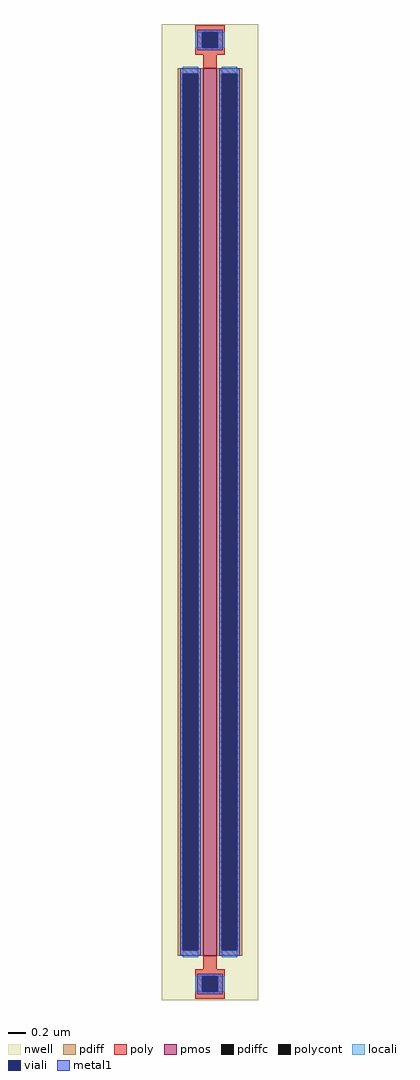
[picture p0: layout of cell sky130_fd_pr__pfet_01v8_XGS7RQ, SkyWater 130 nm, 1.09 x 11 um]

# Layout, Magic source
magic
tech sky130A
magscale 1 2
<< nwell >>
rect -109 -1100 109 1100
<< pmos >>
rect -15 -1000 15 1000
<< pdiff >>
rect -73 988 -15 1000
rect -73 -988 -61 988
rect -27 -988 -15 988
rect -73 -1000 -15 -988
rect 15 988 73 1000
rect 15 -988 27 988
rect 61 -988 73 988
rect 15 -1000 73 -988
<< pdiffc >>
rect -61 -988 -27 988
rect 27 -988 61 988
<< poly >>
rect -33 1081 33 1097
rect -33 1047 -17 1081
rect 17 1047 33 1081
rect -33 1031 33 1047
rect -15 1000 15 1031
rect -15 -1031 15 -1000
rect -33 -1047 33 -1031
rect -33 -1081 -17 -1047
rect 17 -1081 33 -1047
rect -33 -1097 33 -1081
<< polycont >>
rect -17 1047 17 1081
rect -17 -1081 17 -1047
<< locali >>
rect -33 1047 -17 1081
rect 17 1047 33 1081
rect -61 988 -27 1004
rect -61 -1004 -27 -988
rect 27 988 61 1004
rect 27 -1004 61 -988
rect -33 -1081 -17 -1047
rect 17 -1081 33 -1047
<< viali >>
rect -17 1047 17 1081
rect -61 -988 -27 988
rect 27 -988 61 988
rect -17 -1081 17 -1047
<< metal1 >>
rect -29 1081 29 1087
rect -29 1047 -17 1081
rect 17 1047 29 1081
rect -29 1041 29 1047
rect -67 988 -21 1000
rect -67 -988 -61 988
rect -27 -988 -21 988
rect -67 -1000 -21 -988
rect 21 988 67 1000
rect 21 -988 27 988
rect 61 -988 67 988
rect 21 -1000 67 -988
rect -29 -1047 29 -1041
rect -29 -1081 -17 -1047
rect 17 -1081 29 -1047
rect -29 -1087 29 -1081
<< properties >>
string gencell sky130_fd_pr__pfet_01v8
string library sky130
string parameters w 10.0 l 0.15 m 1 nf 1 diffcov 100 polycov 100 guard 0 glc 1 grc 1 gtc 1 gbc 1 tbcov 100 rlcov 100 topc 1 botc 1 poverlap 0 doverlap 1 lmin 0.15 wmin 0.42 compatible {sky130_fd_pr__pfet_01v8  sky130_fd_pr__pfet_01v8_lvt sky130_fd_pr__pfet_01v8_hvt  sky130_fd_pr__pfet_g5v0d10v5} full_metal 0 viasrc 100 viadrn 100 viagate 100 viagb 0 viagr 0 viagl 0 viagt 0
<< end >>
